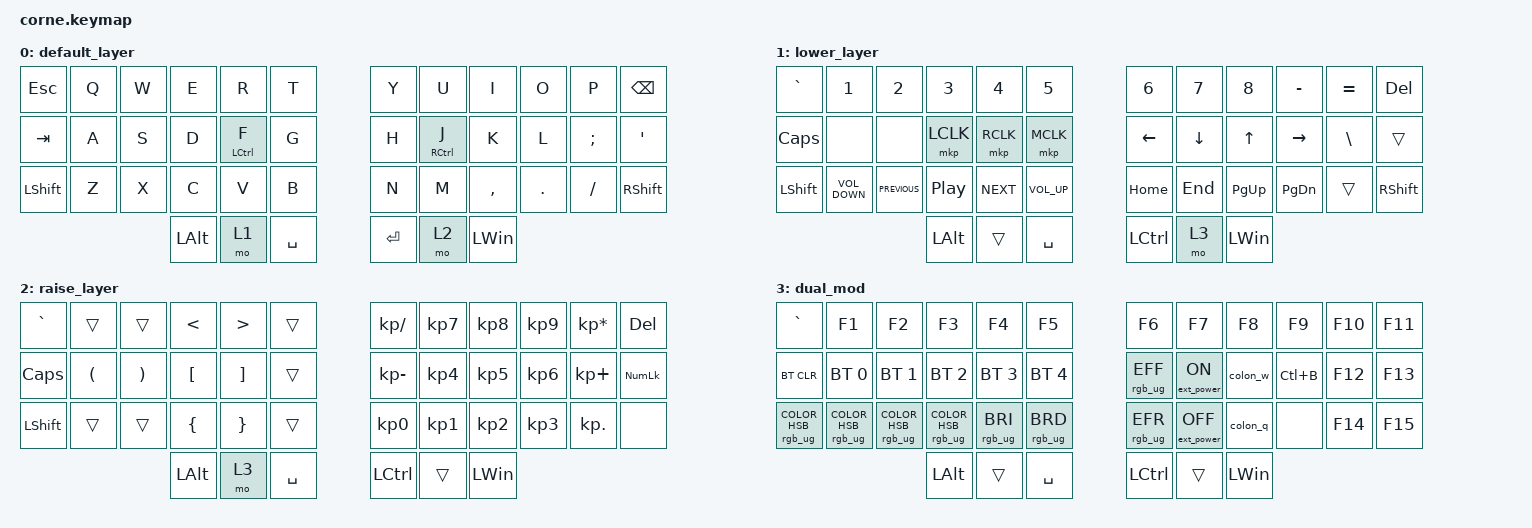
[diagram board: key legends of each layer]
/*
 * Copyright (c) 2020 The ZMK Contributors
 *
 * SPDX-License-Identifier: MIT
 */

#include <dt-bindings/zmk/mouse.h>
#include <behaviors.dtsi>
#include <dt-bindings/zmk/bt.h>
#include <dt-bindings/zmk/ext_power.h>
#include <dt-bindings/zmk/keys.h>
#include <dt-bindings/zmk/pointing.h>
#include <dt-bindings/zmk/rgb.h>

/ {
    behaviors {
        hrm: home_row_mods {
            compatible = "zmk,behavior-hold-tap";
            #binding-cells = <2>;
            flavor = "balanced";
            tapping-term-ms = <200>;
            quick-tap-ms = <200>;
            require-prior-idle-ms = <0>;
            bindings = <&kp>, <&kp>;

            hold-trigger-on-release;
        };
    };
};

/ {
    macros {
        colon_w: colon_w {
            compatible = "zmk,behavior-macro";
            #binding-cells = <0>;
            bindings = <&kp COLON &kp W &kp ENTER>;
            label = "COLON_W";
        };

        colon_q: colon_q {
            compatible = "zmk,behavior-macro";
            #binding-cells = <0>;
            bindings = <&kp COLON &kp Q &kp RET>;
            label = "COLON_Q";
        };
    };

    keymap {
        compatible = "zmk,keymap";

        default_layer {
            // -----------------------------------------------------------------------------------------
            // |  TAB |  Q  |  W  |  E  |  R  |  T  |   |  Y  |  U   |  I  |  O  |  P  | BSPC |
            // | CTRL |  A  |  S  |  D  |  F  |  G  |   |  H  |  J   |  K  |  L  |  ;  |  '   |
            // | SHFT |  Z  |  X  |  C  |  V  |  B  |   |  N  |  M   |  ,  |  .  |  /  | ESC  |
            //                    | GUI | LWR | SPC |   | ENT | RSE  | ALT |

            bindings = <
&kp ESC    &kp Q  &kp W  &kp E         &kp R         &kp T        &kp Y    &kp U         &kp I         &kp O    &kp P     &kp BSPC
&kp TAB    &kp A  &kp S  &kp D         &hrm LCTRL F  &kp G        &kp H    &hrm RCTRL J  &kp K         &kp L    &kp SEMI  &kp SQT
&kp LSHFT  &kp Z  &kp X  &kp C         &kp V         &kp B        &kp N    &kp M         &kp COMMA     &kp DOT  &kp FSLH  &kp RIGHT_SHIFT
                         &kp LEFT_ALT  &mo 1         &kp SPACE    &kp RET  &mo 2         &kp LEFT_WIN
            >;
        };

        lower_layer {
            // -----------------------------------------------------------------------------------------
            // |  TAB |  1  |  2  |  3  |  4  |  5  |   |  6  |  7  |  8  |  9  |  0  | BSPC |
            // | BTCLR| BT1 | BT2 | BT3 | BT4 | BT5 |   | LFT | DWN |  UP | RGT |     |      |
            // | SHFT |     |     |     |     |     |   |     |     |     |     |     |      |
            //                    | GUI |     | SPC |   | ENT |     | ALT |

            bindings = <
&kp GRAVE       &kp NUMBER_1       &kp NUMBER_2    &kp NUMBER_3      &kp NUMBER_4  &kp N5             &kp NUMBER_6    &kp N7          &kp N8        &kp MINUS      &kp EQUAL  &kp DEL
&kp CAPS        &none              &none           &mkp LCLK         &mkp RCLK     &mkp MCLK          &kp LEFT_ARROW  &kp DOWN_ARROW  &kp UP_ARROW  &kp RIGHT      &kp BSLH   &trans
&kp LEFT_SHIFT  &kp C_VOLUME_DOWN  &kp C_PREVIOUS  &kp C_PLAY_PAUSE  &kp C_NEXT    &kp C_VOLUME_UP    &kp HOME        &kp END         &kp PAGE_UP   &kp PAGE_DOWN  &trans     &kp RIGHT_SHIFT
                                                   &kp LEFT_ALT      &trans        &kp SPACE          &kp LCTRL       &mo 3           &kp LEFT_WIN
            >;
        };

        raise_layer {
            // -----------------------------------------------------------------------------------------
            // |  TAB |  !  |  @  |  #  |  $  |  %  |   |  ^  |  &  |  *  |  (  |  )  | BSPC |
            // | CTRL |     |     |     |     |     |   |  -  |  =  |  [  |  ]  |  \  |  `   |
            // | SHFT |     |     |     |     |     |   |  _  |  +  |  {  |  }  | "|" |  ~   |
            //                    | GUI |     | SPC |   | ENT |     | ALT |

            bindings = <
&kp GRAVE       &trans                &trans                 &kp LESS_THAN     &kp GREATER_THAN   &trans       &kp KP_DIVIDE    &kp KP_NUMBER_7  &kp KP_NUMBER_8  &kp KP_NUMBER_9  &kp KP_MULTIPLY  &kp DEL
&kp CAPSLOCK    &kp LEFT_PARENTHESIS  &kp RIGHT_PARENTHESIS  &kp LEFT_BRACKET  &kp RIGHT_BRACKET  &trans       &kp KP_SUBTRACT  &kp KP_NUMBER_4  &kp KP_NUMBER_5  &kp KP_NUMBER_6  &kp KP_PLUS      &kp KP_NUMLOCK
&kp LEFT_SHIFT  &trans                &trans                 &kp LEFT_BRACE    &kp RIGHT_BRACE    &trans       &kp KP_NUMBER_0  &kp KP_NUMBER_1  &kp KP_NUMBER_2  &kp KP_NUMBER_3  &kp KP_DOT       &none
                                                             &kp LEFT_ALT      &mo 3              &kp SPACE    &kp LCTRL        &trans           &kp LEFT_WIN
            >;
        };

        dual_mod {
            bindings = <
&kp GRAVE                       &kp F1                           &kp F2                             &kp F3                             &kp F4           &kp F5             &kp F6           &kp F7             &kp F8        &kp F9     &kp F10  &kp F11
&bt BT_CLR                      &bt BT_SEL 0                     &bt BT_SEL 1                       &bt BT_SEL 2                       &bt BT_SEL 3     &bt BT_SEL 4       &rgb_ug RGB_EFF  &ext_power EP_ON   &colon_w      &kp LC(B)  &kp F12  &kp F13
&rgb_ug RGB_COLOR_HSB(0,0,100)  &rgb_ug RGB_COLOR_HSB(0,100,50)  &rgb_ug RGB_COLOR_HSB(122,100,50)  &rgb_ug RGB_COLOR_HSB(237,100,50)  &rgb_ug RGB_BRI  &rgb_ug RGB_BRD    &rgb_ug RGB_EFR  &ext_power EP_OFF  &colon_q      &none      &kp F14  &kp F15
                                                                                                    &kp LEFT_ALT                       &trans           &kp SPACE          &kp LCTRL        &trans             &kp LEFT_WIN
            >;
        };
    };
};

&led_strip { chain-length = <27>; };
